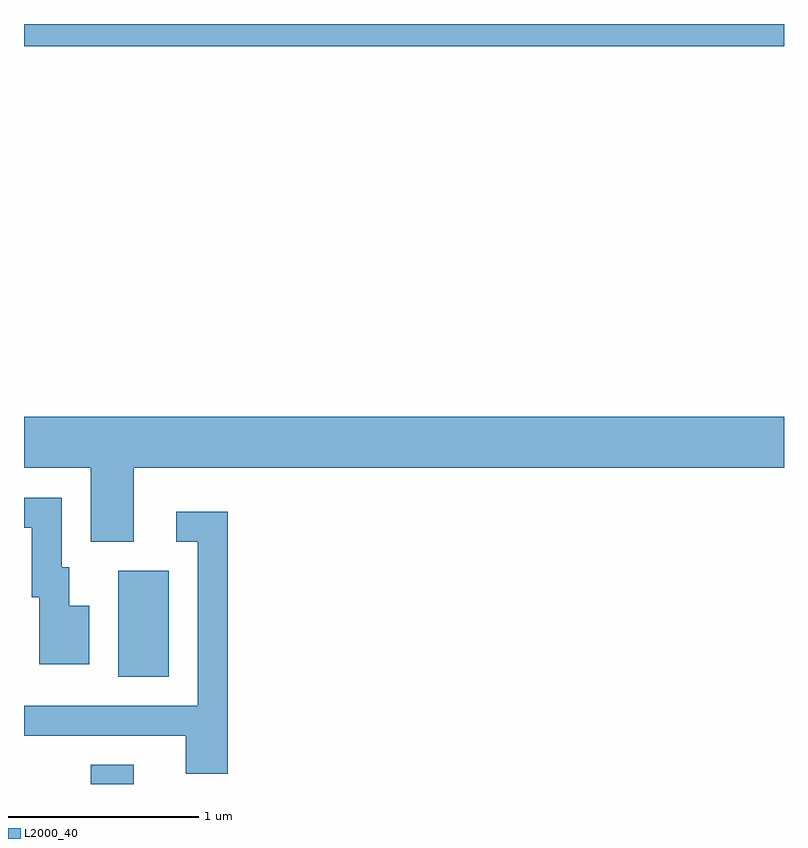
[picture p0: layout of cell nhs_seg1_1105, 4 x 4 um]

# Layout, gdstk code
import gdstk
lib = gdstk.Library(unit=1e-6, precision=1e-09)
def R(c, l, rs):  # rectangles x0, y0, x1, y1
    for r in rs: c.add(gdstk.rectangle(r[:2], r[2:], *l))
def P(c, l, *ps):  # polygons
    for p in ps: c.add(gdstk.Polygon(p, *l))
L2000_40 = (2000, 40)

nhs_seg1_1105 = lib.new_cell('nhs_seg1_1105')
R(nhs_seg1_1105, L2000_40, [(219.961,875.712,220.189,875.814), (220.106,876.276,220.374,876.834), (219.611,879.596,223.611,879.712)])
P(nhs_seg1_1105, L2000_40, [(220.189,877.376),(223.611,877.376),(223.611,877.644),(219.611,877.644),(219.611,877.376),(219.961,877.376),(219.961,876.986),(220.189,876.986)],
  [(219.954,876.649),(219.849,876.649),(219.849,876.854),(219.809,876.854),(219.809,877.219),(219.611,877.219),(219.611,877.061),(219.651,877.061),(219.651,876.696),(219.691,876.696),(219.691,876.341),(219.954,876.341)],
  [(220.684,877.144),(220.413,877.144),(220.413,876.986),(220.526,876.986),(220.526,876.124),(219.611,876.124),(219.611,875.966),(220.461,875.966),(220.461,875.766),(220.684,875.766)])

lib.write_gds('nhs_seg1_1105.gds')
